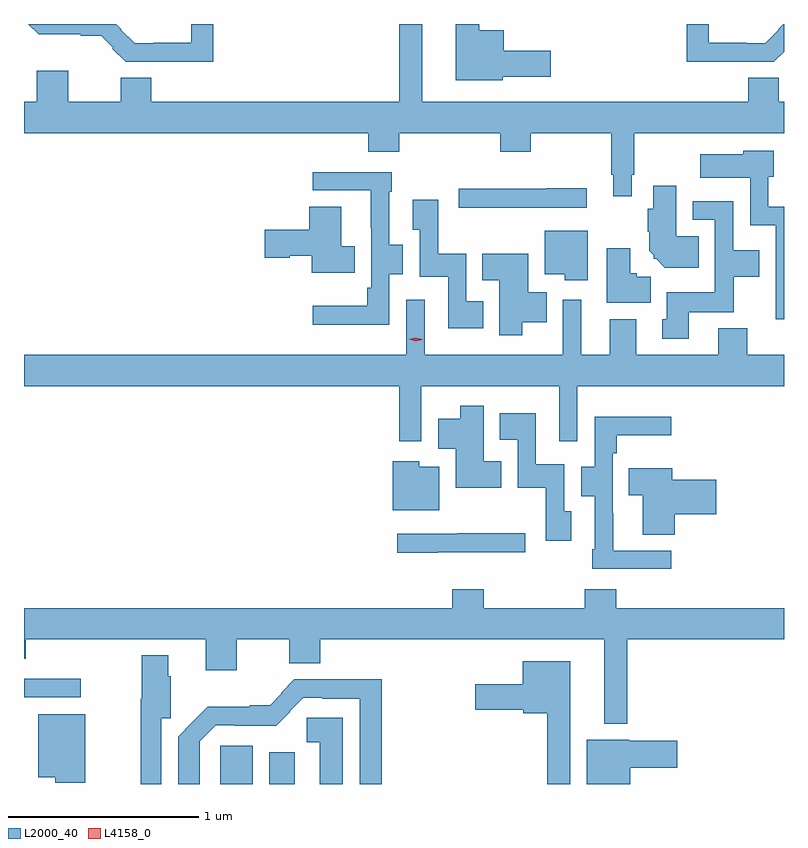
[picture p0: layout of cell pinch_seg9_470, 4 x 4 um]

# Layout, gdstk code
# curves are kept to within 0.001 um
import gdstk
lib = gdstk.Library(unit=1e-6, precision=1e-09)
def R(c, l, rs):  # rectangles x0, y0, x1, y1
    for r in rs: c.add(gdstk.rectangle(r[:2], r[2:], *l))
def P(c, l, *ps):  # polygons
    for p in ps: c.add(gdstk.Polygon(p, *l))
L2000_40 = (2000, 40)
L4158_0 = (4158, 0)

pinch_seg9_470 = lib.new_cell('pinch_seg9_470')
R(pinch_seg9_470, L2000_40, [(376.892,1171.682,377.062,1171.884), (377.15,1171.682,377.284,1171.849), (375.858,1172.139,376.156,1172.235)])
P(pinch_seg9_470, L2000_40, [(379.056,1174.888),(379.069,1174.888),(379.069,1175.108),(379.858,1175.108),(379.858,1175.272),(379.831,1175.272),(379.831,1175.398),(379.67,1175.398),(379.67,1175.272),(377.953,1175.272),(377.953,1175.682),(377.832,1175.682),(377.832,1175.272),(376.528,1175.272),(376.528,1175.398),(376.367,1175.398),(376.367,1175.272),(376.09,1175.272),(376.09,1175.437),(375.926,1175.437),(375.926,1175.272),(375.858,1175.272),(375.858,1175.108),(377.669,1175.108),(377.669,1175.009),(377.834,1175.009),(377.834,1175.108),(378.365,1175.108),(378.365,1175.009),(378.525,1175.009),(378.525,1175.108),(378.948,1175.108),(378.948,1174.888),(378.959,1174.888),(378.959,1174.776),(379.056,1174.776)],
  [(378.378,1175.405),(378.631,1175.405),(378.631,1175.54),(378.382,1175.54),(378.382,1175.65),(378.253,1175.65),(378.253,1175.682),(378.131,1175.682),(378.131,1175.387),(378.378,1175.387)],
  [(376.853,1175.682),(376.737,1175.682),(376.737,1175.584),(376.54,1175.584),(376.54,1175.58),(376.44,1175.58),(376.368,1175.652),(376.371,1175.655),(376.344,1175.682),(375.881,1175.682),(375.936,1175.627),(376.157,1175.627),(376.157,1175.619),(376.265,1175.619),(376.327,1175.557),(376.323,1175.553),(376.393,1175.483),(376.853,1175.483)],
  [(379.858,1175.536),(379.858,1175.682),(379.854,1175.682),(379.827,1175.655),(379.83,1175.652),(379.758,1175.58),(379.658,1175.58),(379.658,1175.584),(379.461,1175.584),(379.461,1175.682),(379.345,1175.682),(379.345,1175.483),(379.805,1175.483)],
  [(379.858,1174.719),(379.776,1174.719),(379.776,1174.878),(379.804,1174.878),(379.804,1175.014),(379.644,1175.014),(379.644,1174.996),(379.416,1174.996),(379.416,1174.874),(379.68,1174.874),(379.68,1174.622),(379.814,1174.622),(379.814,1174.128),(379.858,1174.128)],
  [(377.781,1174.366),(377.851,1174.366),(377.851,1174.521),(377.781,1174.521),(377.781,1174.799),(377.794,1174.799),(377.794,1174.902),(377.379,1174.902),(377.379,1174.806),(377.684,1174.806),(377.684,1174.609),(377.685,1174.609),(377.685,1174.294),(377.665,1174.294),(377.665,1174.198),(377.379,1174.198),(377.379,1174.1),(377.781,1174.1)],
  [(379.409,1174.564),(379.291,1174.564),(379.291,1174.831),(379.169,1174.831),(379.169,1174.71),(379.141,1174.71),(379.141,1174.588),(379.148,1174.588),(379.148,1174.489),(379.173,1174.464),(379.173,1174.446),(379.185,1174.446),(379.231,1174.4),(379.409,1174.4)],
  [(378.503,1174.716),(378.82,1174.716),(378.82,1174.817),(378.607,1174.817),(378.607,1174.814),(378.147,1174.814),(378.147,1174.714),(378.503,1174.714)],
  [(378.274,1174.222),(378.186,1174.222),(378.186,1174.474),(378.039,1174.474),(378.039,1174.756),(377.903,1174.756),(377.903,1174.6),(377.94,1174.6),(377.94,1174.352),(378.09,1174.352),(378.09,1174.082),(378.274,1174.082)],
  [(379.357,1174.166),(379.593,1174.166),(379.593,1174.352),(379.729,1174.352),(379.729,1174.492),(379.59,1174.492),(379.59,1174.749),(379.377,1174.749),(379.377,1174.653),(379.494,1174.653),(379.494,1174.27),(379.241,1174.27),(379.241,1174.128),(379.217,1174.128),(379.217,1174.026),(379.357,1174.026)],
  [(377.6,1174.513),(377.527,1174.513),(377.527,1174.721),(377.36,1174.721),(377.36,1174.598),(377.124,1174.598),(377.124,1174.451),(377.256,1174.451),(377.256,1174.463),(377.372,1174.463),(377.372,1174.373),(377.6,1174.373)],
  [(378.826,1174.594),(378.599,1174.594),(378.599,1174.364),(378.704,1174.364),(378.704,1174.334),(378.826,1174.334)],
  [(379.156,1174.353),(379.083,1174.353),(379.083,1174.371),(379.048,1174.371),(379.048,1174.501),(378.926,1174.501),(378.926,1174.214),(379.156,1174.214)],
  [(378.481,1174.112),(378.608,1174.112),(378.608,1174.27),(378.511,1174.27),(378.511,1174.474),(378.271,1174.474),(378.271,1174.334),(378.359,1174.334),(378.359,1174.044),(378.481,1174.044)],
  [(377.871,1173.94),(375.858,1173.94),(375.858,1173.776),(377.833,1173.776),(377.833,1173.486),(377.949,1173.486),(377.949,1173.776),(378.675,1173.776),(378.675,1173.486),(378.771,1173.486),(378.771,1173.776),(379.858,1173.776),(379.858,1173.94),(379.664,1173.94),(379.664,1174.081),(379.511,1174.081),(379.511,1173.94),(379.081,1173.94),(379.081,1174.129),(378.941,1174.129),(378.941,1173.94),(378.79,1173.94),(378.79,1174.231),(378.693,1174.231),(378.693,1173.94),(377.967,1173.94),(377.967,1174.231),(377.871,1174.231)],
  [(378.371,1173.382),(378.277,1173.382),(378.277,1173.673),(378.155,1173.673),(378.155,1173.604),(378.038,1173.604),(378.038,1173.446),(378.131,1173.446),(378.131,1173.242),(378.371,1173.242)],
  [(378.739,1173.117),(378.702,1173.117),(378.702,1173.364),(378.552,1173.364),(378.552,1173.634),(378.363,1173.634),(378.363,1173.494),(378.456,1173.494),(378.456,1173.242),(378.604,1173.242),(378.604,1172.961),(378.739,1172.961)],
  [(379.264,1172.91),(378.958,1172.91),(378.958,1173.107),(378.957,1173.107),(378.957,1173.422),(378.977,1173.422),(378.977,1173.518),(379.264,1173.518),(379.264,1173.616),(378.861,1173.616),(378.861,1173.351),(378.791,1173.351),(378.791,1173.196),(378.861,1173.196),(378.861,1172.917),(378.849,1172.917),(378.849,1172.814),(379.264,1172.814)],
  [(378.043,1173.352),(377.938,1173.352),(377.938,1173.382),(377.798,1173.382),(377.798,1173.122),(378.043,1173.122)],
  [(379.283,1173.101),(379.501,1173.101),(379.501,1173.284),(379.27,1173.284),(379.27,1173.343),(379.042,1173.343),(379.042,1173.203),(379.115,1173.203),(379.115,1172.995),(379.283,1172.995)],
  [(378.035,1172.903),(378.496,1172.903),(378.496,1173.003),(378.139,1173.003),(378.139,1173),(377.823,1173),(377.823,1172.899),(378.035,1172.899)],
  [(379.033,1172.444),(379.858,1172.444),(379.858,1172.608),(378.974,1172.608),(378.974,1172.707),(378.809,1172.707),(378.809,1172.608),(378.278,1172.608),(378.278,1172.707),(378.113,1172.707),(378.113,1172.608),(375.858,1172.608),(375.858,1172.342),(375.866,1172.342),(375.866,1172.444),(376.814,1172.444),(376.814,1172.28),(376.978,1172.28),(376.978,1172.444),(377.255,1172.444),(377.255,1172.318),(377.416,1172.318),(377.416,1172.444),(378.911,1172.444),(378.911,1172),(379.033,1172)],
  [(376.581,1172.028),(376.631,1172.028),(376.631,1172.249),(376.618,1172.249),(376.618,1172.359),(376.477,1172.359),(376.477,1172.131),(376.473,1172.131),(376.473,1171.682),(376.581,1171.682)],
  [(378.733,1172.329),(378.482,1172.329),(378.482,1172.206),(378.234,1172.206),(378.234,1172.072),(378.486,1172.072),(378.486,1172.054),(378.612,1172.054),(378.612,1171.682),(378.733,1171.682)],
  [(376.782,1171.908),(376.866,1171.992),(376.966,1171.992),(376.966,1171.988),(377.185,1171.988),(377.259,1172.061),(377.256,1172.064),(377.328,1172.136),(377.428,1172.136),(377.428,1172.132),(377.625,1172.132),(377.625,1171.682),(377.741,1171.682),(377.741,1172.233),(377.281,1172.233),(377.211,1172.163),(377.215,1172.159),(377.153,1172.097),(377.045,1172.097),(377.045,1172.089),(376.825,1172.089),(376.67,1171.932),(376.67,1171.682),(376.782,1171.682)],
  [(376.18,1172.05),(375.932,1172.05),(375.932,1171.718),(376.022,1171.718),(376.022,1171.688),(376.18,1171.688)],
  [(377.536,1172.03),(377.346,1172.03),(377.346,1171.901),(377.414,1171.901),(377.414,1171.682),(377.536,1171.682)],
  [(379.048,1171.768),(379.297,1171.768),(379.297,1171.91),(379.044,1171.91),(379.044,1171.915),(378.821,1171.915),(378.821,1171.682),(379.048,1171.682)])
P(pinch_seg9_470, L4158_0, [(377.919,1174.012),(377.884,1174.023),(377.884,1174.023),(377.884,1174.023),(377.919,1174.032),(377.954,1174.022),(377.954,1174.022),(377.954,1174.021)])

lib.write_gds('pinch_seg9_470.gds')
